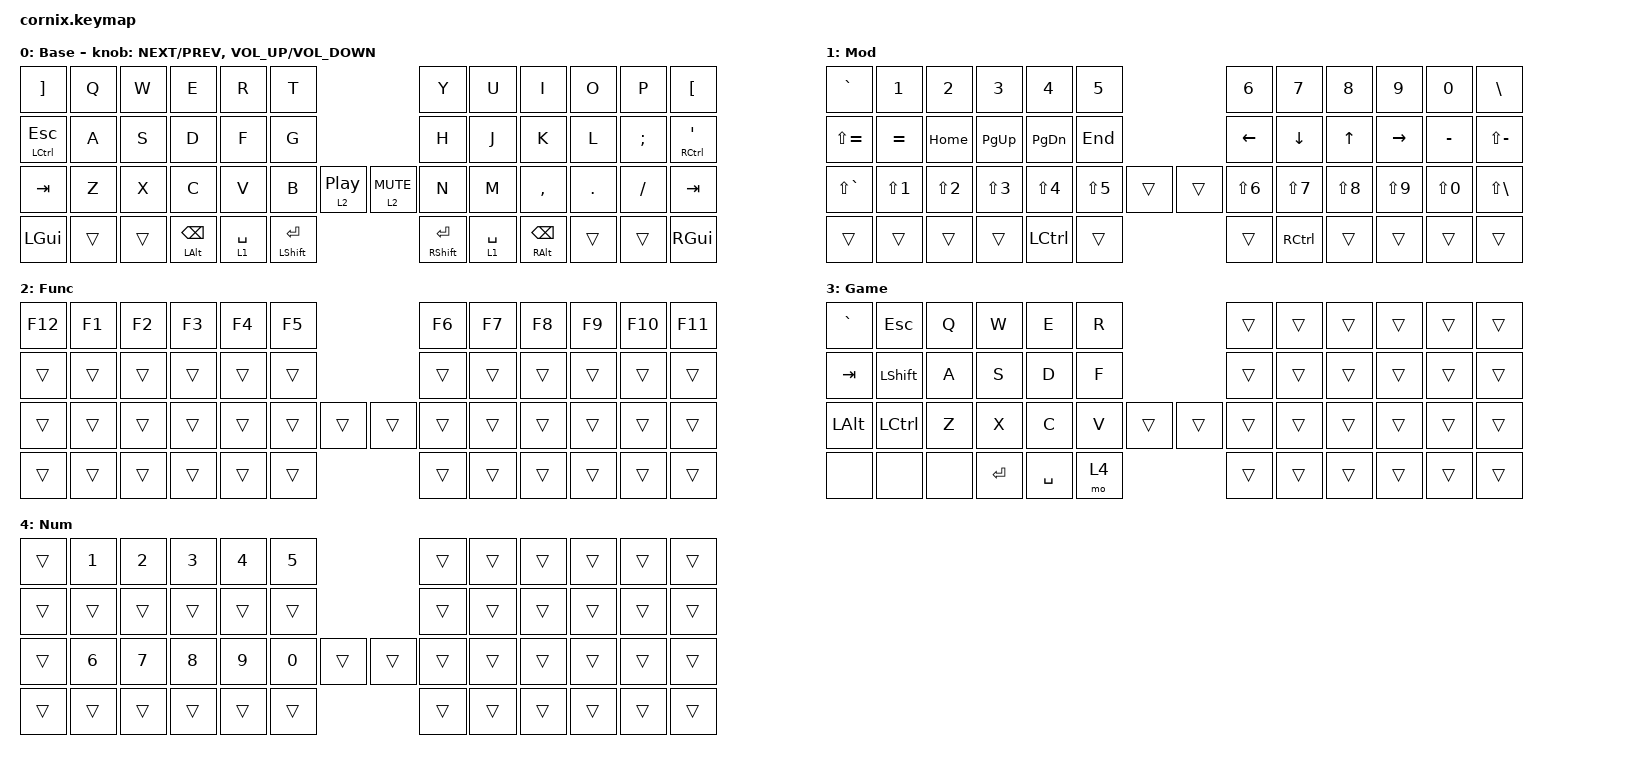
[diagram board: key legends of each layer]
/*
 * Copyright (c) 2020 The ZMK Contributors
 *
 * SPDX-License-Identifier: MIT
 */

#include "zmk-helpers/helper.h"
#include "includes/cornix54.h"

// tap windows for ctl alt and gui

#define HM_TAPPING_TERM 250
#define HM_TAPPING_REPEAT 210

// quick tapping for shift

#define HM_TAPPING_TERM_FAST 200
#define HM_PRIOR_IDLE 70
#define BASE 0
#define WIN 1
#define LOWER 2
#define RAISE 3
#define ADJUST 4
#define NAVI   5
#define NUM    6
#define DEBUG  7

// https://github.com/urob/zmk-config/tree/main#timeless-homerow-mods

#define KEYS_L LT0 LT1 LT2 LT3 LT4 LT5 LM0 LM1 LM2 LM3 LM4 LM5 LB0 LB1 LB2 LB3 LB4 LB5  // left hand
#define KEYS_R RT0 RT1 RT2 RT3 RT4 RT5 RM0 RM1 RM2 RM3 RM4 RM5 RB0 RB1 RB2 RB3 RB4 RB5  // right hand
#define THUMBS LH1 LH0 RH0 RH1
#define KEYS_T LH1 LH0 RH0 RH1
#define ZMK_POINTING_DEFAULT_SCRL_VAL 15

#include <behaviors.dtsi>
#include <dt-bindings/zmk/keys.h>

&mt {
};

&lt {
};

/ {
    // Activate ADJUST layer by pressing raise and lower

    behaviors {
        // Positional Homerow mods for shift
        // Use faster tapping term and disable some features that may
        // cause false negatives.
        /*
         * Non-Positional Homerow Mods
         * Used for &mm_grescm_gui behavior on left hand.
         *
         * Usage: &hm LSHFT T
         * Tap: T
         * Tap-Tap-Hold: Repeat T
         * Hold: LSHIFT
         */
    };

    conditional_layers { compatible = "zmk,conditional-layers"; };

    combos {
        compatible = "zmk,combos";

        WASD {
            bindings = <&tog 3>;
            key-positions = <19 20 21 22>;
        };
    };

    keymap {
        compatible = "zmk,keymap";

        Base {
            bindings = <
&kp RBKT              &kp Q   &kp W   &kp E                   &kp R        &kp T                                                   &kp Y                  &kp U        &kp I                    &kp O    &kp P     &kp LBKT
&mt LEFT_CONTROL ESC  &kp A   &kp S   &kp D                   &kp F        &kp G                                                   &kp H                  &kp J        &kp K                    &kp L    &kp SEMI  &mt RCTRL APOS
&kp TAB               &kp Z   &kp X   &kp C                   &kp V        &kp B                 &lt 2 C_PLAY_PAUSE  &lt 2 C_MUTE  &kp N                  &kp M        &kp COMMA                &kp DOT  &kp FSLH  &kp TAB
&kp LGUI              &trans  &trans  &mt LEFT_ALT BACKSPACE  &lt 1 SPACE  &mt LEFT_SHIFT ENTER                                    &mt RIGHT_SHIFT ENTER  &lt 1 SPACE  &mt RIGHT_ALT BACKSPACE  &trans   &trans    &kp RGUI
            >;

            sensor-bindings =
                <&inc_dec_kp C_NEXT C_PREV>,
                <&inc_dec_kp C_VOLUME_UP C_VOLUME_DOWN>;

            label = "Base";
        };

        Mod {
            bindings = <
&kp GRAVE      &kp N1      &kp N2      &kp N3       &kp N4         &kp N5                      &kp N6      &kp N7      &kp N8      &kp N9      &kp N0      &kp BSLH
&kp LS(EQUAL)  &kp EQUAL   &kp HOME    &kp PAGE_UP  &kp PAGE_DOWN  &kp END                     &kp LEFT    &kp DOWN    &kp UP      &kp RIGHT   &kp MINUS   &kp LS(MINUS)
&kp LS(GRAVE)  &kp LS(N1)  &kp LS(N2)  &kp LS(N3)   &kp LS(N4)     &kp LS(N5)  &trans  &trans  &kp LS(N6)  &kp LS(N7)  &kp LS(N8)  &kp LS(N9)  &kp LS(N0)  &kp LS(BSLH)
&trans         &trans      &trans      &trans       &kp LCTRL      &trans                      &trans      &kp RCTRL   &trans      &trans      &trans      &trans
            >;

            label = "Mod";
        };

        Func {
            bindings = <
&kp F12  &kp F1  &kp F2  &kp F3  &kp F4  &kp F5                  &kp F6  &kp F7  &kp F8  &kp F9  &kp F10  &kp F11
&trans   &trans  &trans  &trans  &trans  &trans                  &trans  &trans  &trans  &trans  &trans   &trans
&trans   &trans  &trans  &trans  &trans  &trans  &trans  &trans  &trans  &trans  &trans  &trans  &trans   &trans
&trans   &trans  &trans  &trans  &trans  &trans                  &trans  &trans  &trans  &trans  &trans   &trans
            >;

            label = "Func";
        };

        Game {
            bindings = <
&kp GRAVE  &kp ESC    &kp Q  &kp W      &kp E      &kp R                  &trans  &trans  &trans  &trans  &trans  &trans
&kp TAB    &kp LSHFT  &kp A  &kp S      &kp D      &kp F                  &trans  &trans  &trans  &trans  &trans  &trans
&kp LALT   &kp LCTRL  &kp Z  &kp X      &kp C      &kp V  &trans  &trans  &trans  &trans  &trans  &trans  &trans  &trans
&none      &none      &none  &kp ENTER  &kp SPACE  &mo 4                  &trans  &trans  &trans  &trans  &trans  &trans
            >;

            label = "Game";
        };

        Num {
            bindings = <
&trans  &kp N1  &kp N2  &kp N3  &kp N4  &kp N5                  &trans  &trans  &trans  &trans  &trans  &trans
&trans  &trans  &trans  &trans  &trans  &trans                  &trans  &trans  &trans  &trans  &trans  &trans
&trans  &kp N6  &kp N7  &kp N8  &kp N9  &kp N0  &trans  &trans  &trans  &trans  &trans  &trans  &trans  &trans
&trans  &trans  &trans  &trans  &trans  &trans                  &trans  &trans  &trans  &trans  &trans  &trans
            >;

            label = "Num";
        };
    };
};
